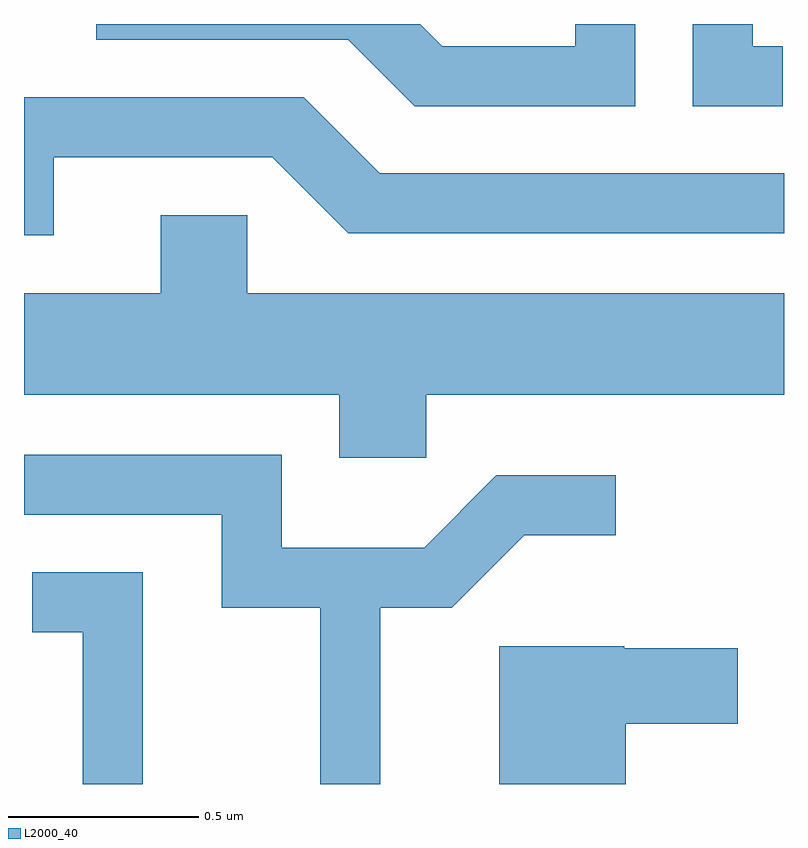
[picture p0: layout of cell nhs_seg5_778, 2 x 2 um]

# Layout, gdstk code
import gdstk
lib = gdstk.Library(unit=1e-6, precision=1e-09)
def P(c, l, *ps):  # polygons
    for p in ps: c.add(gdstk.Polygon(p, *l))
L2000_40 = (2000, 40)

nhs_seg5_778 = lib.new_cell('nhs_seg5_778')
P(nhs_seg5_778, L2000_40, [(192.219,1491.072),(192.061,1491.072),(192.061,1491.014),(191.712,1491.014),(191.654,1491.072),(190.801,1491.072),(190.801,1491.031),(191.464,1491.031),(191.639,1490.856),(192.219,1490.856)],
  [(192.608,1491.014),(192.529,1491.014),(192.529,1491.072),(192.371,1491.072),(192.371,1490.856),(192.608,1490.856)],
  [(190.689,1490.721),(191.264,1490.721),(191.464,1490.521),(192.611,1490.521),(192.611,1490.679),(191.547,1490.679),(191.347,1490.879),(190.611,1490.879),(190.611,1490.516),(190.689,1490.516)],
  [(191.669,1490.096),(192.611,1490.096),(192.611,1490.364),(191.199,1490.364),(191.199,1490.569),(190.971,1490.569),(190.971,1490.364),(190.611,1490.364),(190.611,1490.096),(191.441,1490.096),(191.441,1489.931),(191.669,1489.931)],
  [(191.549,1489.536),(191.737,1489.536),(191.927,1489.726),(192.168,1489.726),(192.168,1489.884),(191.854,1489.884),(191.664,1489.694),(191.289,1489.694),(191.289,1489.939),(190.611,1489.939),(190.611,1489.781),(191.131,1489.781),(191.131,1489.536),(191.391,1489.536),(191.391,1489.072),(191.549,1489.072)],
  [(190.924,1489.629),(190.633,1489.629),(190.633,1489.471),(190.766,1489.471),(190.766,1489.072),(190.924,1489.072)],
  [(192.194,1489.231),(192.489,1489.231),(192.489,1489.429),(192.19,1489.429),(192.19,1489.434),(191.861,1489.434),(191.861,1489.072),(192.194,1489.072)])

lib.write_gds('nhs_seg5_778.gds')
